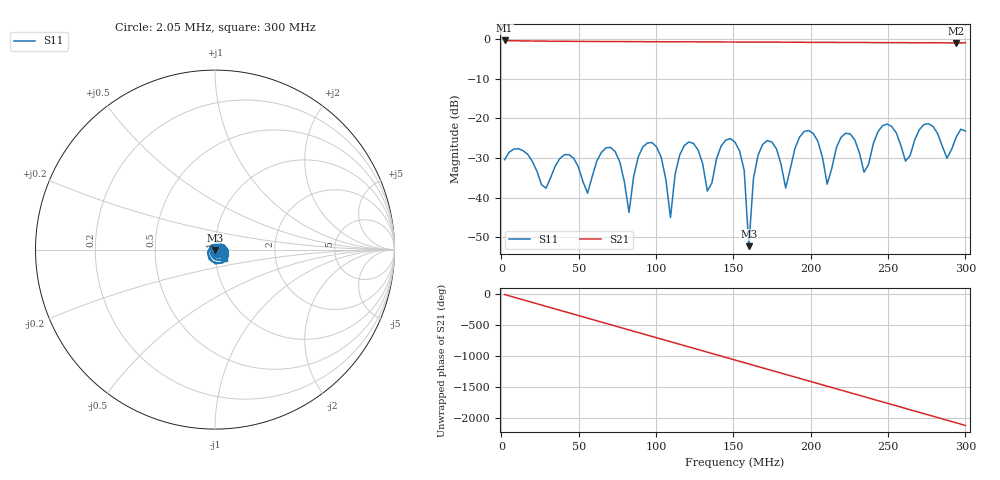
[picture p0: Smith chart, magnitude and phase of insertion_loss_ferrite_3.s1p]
# Hz S RI R 50
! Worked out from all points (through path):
!   101 points, 2.05 MHz to 300 MHz, reference 50 ohm
!   highest |S21| = -0.38 dB at 2.05 MHz (marker M1); lowest = -1.0 dB at 294 MHz (marker M2)
!   group delay of S21, straight-line fit = 19.6 ns
!   lowest |S11| = -52.2 dB at 160 MHz (marker M3), VSWR 1.00, Z = 49.9 - j0.226 ohm
!   |S11| at or under -10 dB: start of sweep to end of sweep
!   S12 and S22 are empty: the file has one direction only
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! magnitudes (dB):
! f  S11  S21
! 2.05 MHz  -30.4  -0.4
! 52.7 MHz  -35.9  -0.6
! 70.58 MHz  -27.3  -0.7
! 82.5 MHz  -43.7  -0.7
! 91.44 MHz  -27.2  -0.7
! 103.4 MHz  -29.9  -0.7
! 109.3 MHz  -45.0  -0.7
! 118.3 MHz  -26.8  -0.7
! 133.1 MHz  -38.3  -0.7
! 151 MHz  -26.0  -0.8
! 157 MHz  -33.1  -0.8
! 160 MHz  -52.2  -0.8
! 162.9 MHz  -35.2  -0.8
! 168.9 MHz  -26.6  -0.8
! 183.8 MHz  -37.5  -0.8
! 201.7 MHz  -23.8  -0.9
! 210.6 MHz  -36.6  -0.9
! 222.5 MHz  -23.8  -0.9
! 234.5 MHz  -33.6  -0.9
! 252.3 MHz  -22.0  -0.9
! 294 MHz  -24.7  -1.0
! 300 MHz  -23.2  -1.0
